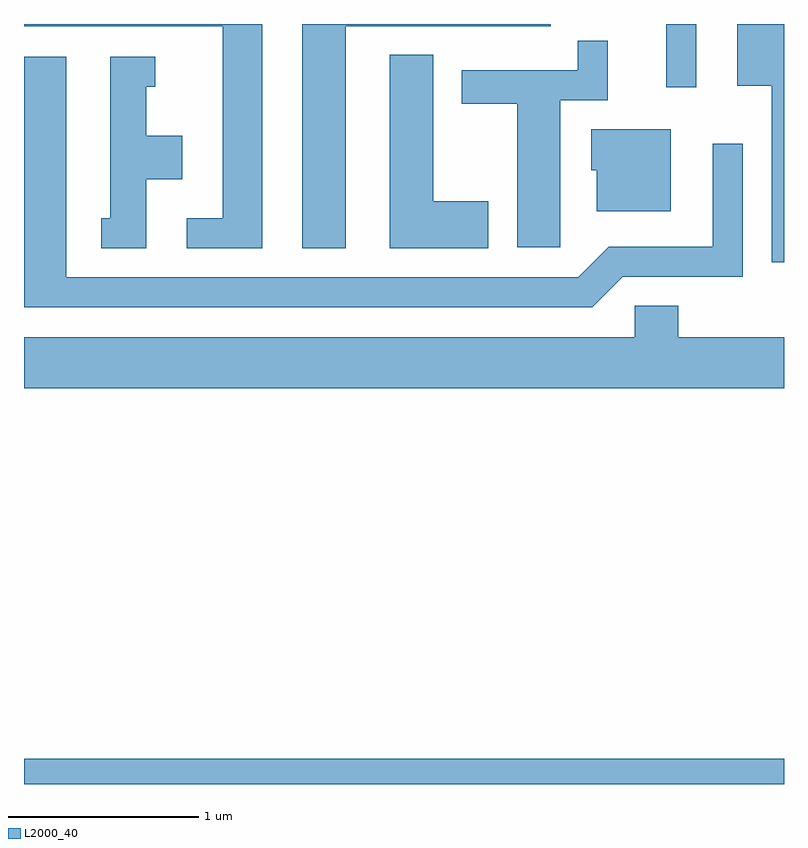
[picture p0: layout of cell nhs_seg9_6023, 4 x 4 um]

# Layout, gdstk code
import gdstk
lib = gdstk.Library(unit=1e-6, precision=1e-09)
def R(c, l, rs):  # rectangles x0, y0, x1, y1
    for r in rs: c.add(gdstk.rectangle(r[:2], r[2:], *l))
def P(c, l, *ps):  # polygons
    for p in ps: c.add(gdstk.Polygon(p, *l))
L2000_40 = (2000, 40)

nhs_seg9_6023 = lib.new_cell('nhs_seg9_6023')
R(nhs_seg9_6023, L2000_40, [(363.611,1956.432,367.611,1956.564), (366.991,1960.098,367.149,1960.432)])
P(nhs_seg9_6023, L2000_40, [(364.864,1960.432),(363.611,1960.432),(363.611,1960.421),(364.656,1960.421),(364.656,1959.409),(364.468,1959.409),(364.468,1959.251),(364.864,1959.251)],
  [(367.611,1960.432),(367.366,1960.432),(367.366,1960.106),(367.546,1960.106),(367.546,1959.178),(367.611,1959.178)],
  [(365.304,1960.421),(366.383,1960.421),(366.383,1960.432),(365.076,1960.432),(365.076,1959.251),(365.304,1959.251)],
  [(366.434,1960.031),(366.684,1960.031),(366.684,1960.343),(366.526,1960.343),(366.526,1960.189),(365.916,1960.189),(365.916,1960.011),(366.206,1960.011),(366.206,1959.256),(366.434,1959.256)],
  [(366.054,1959.499),(365.764,1959.499),(365.764,1960.269),(365.536,1960.269),(365.536,1959.251),(366.054,1959.251)],
  [(364.254,1959.616),(364.444,1959.616),(364.444,1959.844),(364.254,1959.844),(364.254,1960.101),(364.303,1960.101),(364.303,1960.259),(364.066,1960.259),(364.066,1959.409),(364.018,1959.409),(364.018,1959.251),(364.254,1959.251)],
  [(366.762,1959.101),(367.394,1959.101),(367.394,1959.803),(367.236,1959.803),(367.236,1959.259),(366.689,1959.259),(366.529,1959.099),(363.834,1959.099),(363.834,1960.259),(363.611,1960.259),(363.611,1958.941),(366.602,1958.941)],
  [(367.014,1959.879),(366.596,1959.879),(366.596,1959.661),(366.626,1959.661),(366.626,1959.446),(367.014,1959.446)],
  [(367.611,1958.784),(367.054,1958.784),(367.054,1958.949),(366.826,1958.949),(366.826,1958.784),(363.611,1958.784),(363.611,1958.516),(367.611,1958.516)])

lib.write_gds('nhs_seg9_6023.gds')
